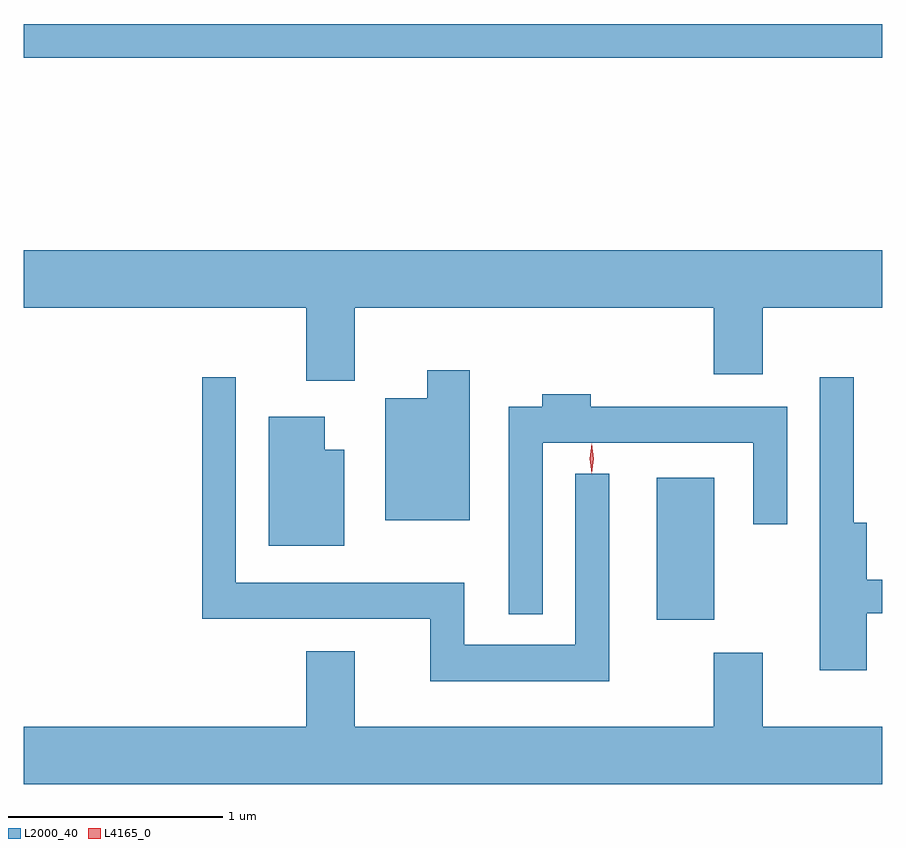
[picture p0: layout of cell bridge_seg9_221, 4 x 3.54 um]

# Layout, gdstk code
import gdstk
lib = gdstk.Library(unit=1e-6, precision=1e-09)
def R(c, l, rs):  # rectangles x0, y0, x1, y1
    for r in rs: c.add(gdstk.rectangle(r[:2], r[2:], *l))
def P(c, l, *ps):  # polygons
    for p in ps: c.add(gdstk.Polygon(p, *l))
L2000_40 = (2000, 40)
L4165_0 = (4165, 0)

bridge_seg9_221 = lib.new_cell('bridge_seg9_221')
R(bridge_seg9_221, L2000_40, [(1485.096,1999.241,1485.364,1999.904), (1482.146,2001.861,1486.146,2002.019)])
P(bridge_seg9_221, L2000_40, [(1483.689,2000.696),(1485.361,2000.696),(1485.361,2000.386),(1485.589,2000.386),(1485.589,2000.696),(1486.146,2000.696),(1486.146,2000.964),(1482.146,2000.964),(1482.146,2000.696),(1483.461,2000.696),(1483.461,2000.356),(1483.689,2000.356)],
  [(1484.224,2000.404),(1484.026,2000.404),(1484.026,2000.274),(1483.831,2000.274),(1483.831,1999.706),(1484.224,1999.706)],
  [(1486.074,1999.271),(1486.146,1999.271),(1486.146,1999.429),(1486.074,1999.429),(1486.074,1999.694),(1486.014,1999.694),(1486.014,2000.373),(1485.856,2000.373),(1485.856,1999.006),(1486.074,1999.006)],
  [(1484.874,1999.923),(1484.716,1999.923),(1484.716,1999.124),(1484.199,1999.124),(1484.199,1999.414),(1483.134,1999.414),(1483.134,2000.373),(1482.976,2000.373),(1482.976,1999.246),(1484.041,1999.246),(1484.041,1998.956),(1484.874,1998.956)],
  [(1484.564,2000.066),(1485.546,2000.066),(1485.546,1999.688),(1485.704,1999.688),(1485.704,2000.234),(1484.789,2000.234),(1484.789,2000.294),(1484.561,2000.294),(1484.561,2000.234),(1484.406,2000.234),(1484.406,1999.268),(1484.564,1999.268)],
  [(1483.639,2000.034),(1483.549,2000.034),(1483.549,2000.189),(1483.286,2000.189),(1483.286,1999.586),(1483.639,1999.586)],
  [(1486.146,1998.744),(1485.589,1998.744),(1485.589,1999.089),(1485.361,1999.089),(1485.361,1998.744),(1483.689,1998.744),(1483.689,1999.094),(1483.461,1999.094),(1483.461,1998.744),(1482.146,1998.744),(1482.146,1998.476),(1486.146,1998.476)])
P(bridge_seg9_221, L4165_0, [(1484.793,1999.923),(1484.792,1999.924),(1484.783,1999.993),(1484.792,2000.062),(1484.793,2000.063),(1484.793,2000.062),(1484.803,1999.993),(1484.793,1999.924)])

lib.write_gds('bridge_seg9_221.gds')
